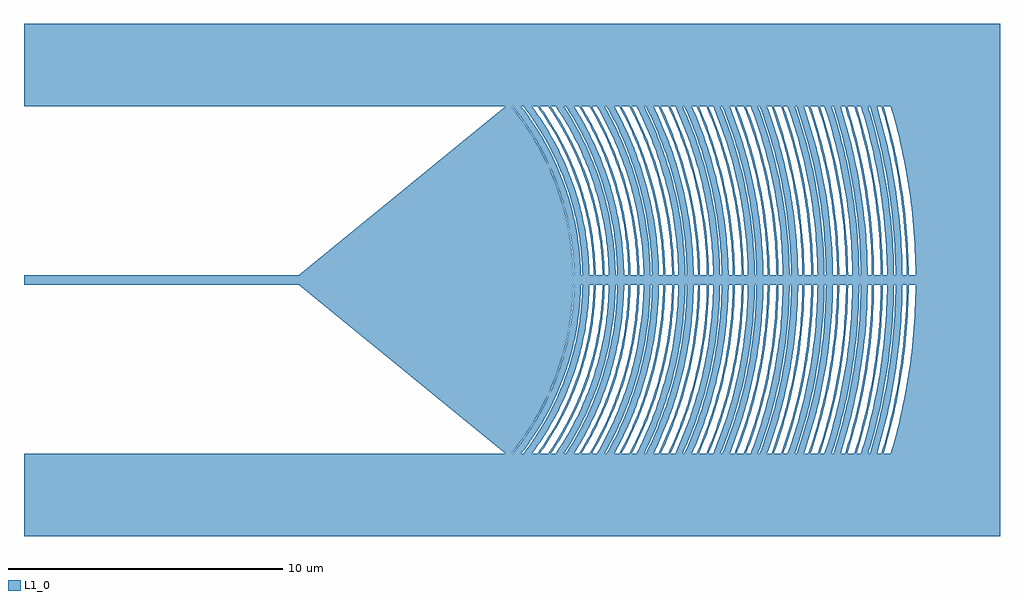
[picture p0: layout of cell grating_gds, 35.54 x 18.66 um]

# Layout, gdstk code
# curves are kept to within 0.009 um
import gdstk
lib = gdstk.Library(unit=1e-6, precision=1e-09)
def R(c, l, rs):  # rectangles x0, y0, x1, y1
    for r in rs: c.add(gdstk.rectangle(r[:2], r[2:], *l))
def P(c, l, *ps):  # polygons
    for p in ps: c.add(gdstk.Polygon(p, *l))
L1_0 = (1, 0)

boolean_99812f7a = lib.new_cell('boolean_99812f7a')
P(boolean_99812f7a, L1_0, [(-10,-0.175),(0,-0.175),(7.537,-6.328),(7.742,-6.328),(7.986,-6.018),(8.29,-5.592),(8.572,-5.15),(8.746,-4.848),(8.988,-4.384),(9.135,-4.067),(9.336,-3.584),(9.455,-3.256),(9.613,-2.756),(9.703,-2.419),(9.877,-1.564),(9.976,-0.698),(9.994,-0.349),(9.998,0.175),(9.976,0.698),(9.945,1.045),(9.903,1.392),(9.816,1.908),(9.744,2.25),(9.613,2.756),(9.455,3.256),(9.272,3.746),(9.063,4.226),(8.829,4.695),(8.572,5.15),(8.29,5.592),(7.986,6.018),(7.742,6.328),(7.537,6.328),(0,0.175),(-10,0.175)],
  [(8.125,-6.297),(8.421,-5.896),(8.643,-5.565),(8.852,-5.226),(9.095,-4.791),(9.439,-4.072),(9.59,-3.702),(9.758,-3.233),(9.876,-2.853),(10.003,-2.371),(10.106,-1.883),(10.171,-1.49),(10.256,-0.697),(10.278,-0.199),(10.278,0.199),(10.256,0.697),(10.21,1.193),(10.14,1.687),(10.047,2.176),(9.955,2.564),(9.819,3.044),(9.66,3.516),(9.516,3.888),(9.274,4.434),(9.048,4.879),(8.749,5.397),(8.421,5.896),(8.101,6.328),(7.782,6.328),(8.216,5.753),(8.433,5.43),(8.686,5.015),(9.049,4.327),(9.21,3.973),(9.391,3.522),(9.636,2.783),(9.737,2.408),(9.842,1.933),(9.924,1.454),(9.973,1.068),(10.026,0.292),(10.028,-0.194),(10.013,-0.583),(9.938,-1.357),(9.803,-2.123),(9.609,-2.877),(9.458,-3.339),(9.285,-3.793),(9.049,-4.327),(8.874,-4.674),(8.637,-5.099),(8.326,-5.593),(8.103,-5.911),(7.782,-6.328),(8.101,-6.328)],
  [(8.494,-6.323),(8.733,-5.989),(9.013,-5.559),(9.416,-4.844),(9.64,-4.382),(9.803,-4.005),(10.084,-3.233),(10.201,-2.84),(10.327,-2.342),(10.41,-1.94),(10.492,-1.433),(10.549,-0.923),(10.577,-0.513),(10.585,0.308),(10.565,0.718),(10.518,1.229),(10.391,2.041),(10.28,2.542),(10.173,2.939),(10.019,3.428),(9.841,3.91),(9.597,4.475),(9.321,5.026),(9.013,5.559),(8.733,5.989),(8.49,6.328),(8.177,6.328),(8.412,6.012),(8.693,5.598),(9.101,4.907),(9.454,4.187),(9.75,3.442),(9.876,3.061),(10.013,2.579),(10.182,1.795),(10.291,1.001),(10.338,0.201),(10.332,-0.401),(10.27,-1.2),(10.146,-1.993),(9.961,-2.773),(9.815,-3.252),(9.645,-3.724),(9.454,-4.187),(9.24,-4.64),(9.004,-5.083),(8.747,-5.513),(8.527,-5.848),(8.177,-6.328)],
  [(8.799,-6.289),(9.206,-5.678),(9.419,-5.317),(9.618,-4.948),(9.803,-4.571),(10.013,-4.091),(10.267,-3.402),(10.362,-3.102),(10.5,-2.596),(10.613,-2.084),(10.686,-1.671),(10.775,-0.943),(10.808,-0.419),(10.816,0),(10.808,0.419),(10.775,0.943),(10.686,1.671),(10.613,2.084),(10.5,2.596),(10.362,3.102),(10.267,3.402),(10.09,3.896),(9.931,4.284),(9.758,4.666),(9.52,5.133),(9.206,5.678),(8.86,6.204),(8.771,6.328),(8.685,6.328),(8.921,5.992),(9.146,5.641),(9.358,5.283),(9.556,4.916),(9.739,4.542),(9.908,4.16),(10.062,3.773),(10.201,3.38),(10.324,2.982),(10.432,2.579),(10.545,2.071),(10.617,1.661),(10.661,1.351),(10.714,0.833),(10.738,0.417),(10.746,0),(10.738,-0.417),(10.714,-0.833),(10.661,-1.351),(10.617,-1.661),(10.48,-2.377),(10.295,-3.082),(10.201,-3.38),(10.025,-3.871),(9.739,-4.542),(9.508,-5.008),(9.254,-5.463),(8.921,-5.992),(8.685,-6.328),(8.771,-6.328)],
  [(9.187,-6.301),(9.424,-5.94),(9.647,-5.57),(9.856,-5.192),(10.05,-4.806),(10.229,-4.412),(10.392,-4.012),(10.54,-3.606),(10.672,-3.195),(10.864,-2.464),(10.951,-2.041),(11.022,-1.614),(11.076,-1.186),(11.114,-0.756),(11.14,0),(11.127,0.54),(11.106,0.863),(11.064,1.293),(11.006,1.721),(10.864,2.464),(10.732,2.987),(10.608,3.401),(10.468,3.81),(10.271,4.313),(10.05,4.806),(9.856,5.192),(9.537,5.756),(9.187,6.301),(9.168,6.328),(9.083,6.328),(9.307,5.993),(9.533,5.628),(9.744,5.254),(9.94,4.872),(10.248,4.187),(10.402,3.786),(10.541,3.38),(10.693,2.865),(10.796,2.448),(10.937,1.711),(11.028,0.965),(11.057,0.536),(11.07,0),(11.044,-0.751),(11.007,-1.179),(10.953,-1.604),(10.902,-1.922),(10.796,-2.448),(10.605,-3.175),(10.365,-3.887),(10.078,-4.581),(9.844,-5.064),(9.64,-5.442),(9.365,-5.902),(9.083,-6.328),(9.168,-6.328)],
  [(9.708,-6.251),(10.163,-5.48),(10.557,-4.676),(10.731,-4.263),(10.888,-3.844),(11.029,-3.419),(11.153,-2.988),(11.351,-2.115),(11.481,-1.229),(11.538,-0.448),(11.538,0.448),(11.502,1.006),(11.455,1.452),(11.33,2.225),(11.209,2.772),(11.093,3.204),(10.85,3.949),(10.646,4.47),(10.368,5.082),(10.055,5.676),(9.768,6.157),(9.658,6.328),(9.358,6.328),(9.728,5.743),(10.144,4.972),(10.498,4.171),(10.757,3.449),(10.966,2.712),(11.125,1.962),(11.232,1.203),(11.292,0.329),(11.288,-0.438),(11.232,-1.203),(11.125,-1.962),(10.992,-2.605),(10.853,-3.135),(10.688,-3.657),(10.538,-4.069),(10.329,-4.575),(10.144,-4.972),(9.891,-5.458),(9.672,-5.837),(9.358,-6.328),(9.658,-6.328)],
  [(10.03,-6.322),(10.49,-5.525),(10.886,-4.696),(11.18,-3.947),(11.452,-3.069),(11.634,-2.285),(11.762,-1.491),(11.836,-0.689),(11.854,-0.23),(11.854,0.23),(11.8,1.148),(11.676,2.059),(11.587,2.51),(11.452,3.069),(11.18,3.947),(10.975,4.484),(10.745,5.011),(10.436,5.627),(10.151,6.126),(10.026,6.328),(9.729,6.328),(10.162,5.607),(10.519,4.905),(10.827,4.18),(11.086,3.436),(11.319,2.567),(11.467,1.793),(11.562,1.012),(11.604,0.225),(11.597,-0.45),(11.54,-1.236),(11.43,-2.015),(11.267,-2.786),(11.017,-3.651),(10.867,-4.075),(10.657,-4.597),(10.471,-5.007),(10.216,-5.508),(9.937,-5.997),(9.729,-6.328)],
  [(10.345,-6.243),(10.579,-5.837),(10.797,-5.423),(11.14,-4.678),(11.272,-4.352),(11.432,-3.911),(11.671,-3.127),(11.856,-2.328),(11.919,-1.983),(11.987,-1.519),(12.062,-0.702),(12.082,0.117),(12.046,0.936),(12.001,1.403),(11.955,1.751),(11.809,2.558),(11.701,3.014),(11.575,3.465),(11.432,3.911),(11.272,4.352),(11.094,4.786),(10.9,5.212),(10.579,5.837),(10.293,6.328),(10.211,6.328),(10.574,5.701),(10.787,5.287),(10.984,4.865),(11.288,4.109),(11.541,3.334),(11.74,2.543),(11.886,1.741),(11.967,1.047),(12.004,0.466),(12.012,0.117),(11.992,-0.698),(11.967,-1.047),(11.917,-1.51),(11.809,-2.201),(11.633,-2.996),(11.439,-3.668),(11.328,-3.999),(11.164,-4.435),(10.984,-4.865),(10.735,-5.391),(10.461,-5.905),(10.211,-6.328),(10.293,-6.328)],
  [(10.684,-6.307),(11.087,-5.568),(11.439,-4.803),(11.699,-4.13),(11.85,-3.673),(11.984,-3.211),(12.174,-2.391),(12.308,-1.56),(12.378,-0.841),(12.401,-0.361),(12.406,0.12),(12.392,0.601),(12.369,0.961),(12.336,1.321),(12.275,1.798),(12.218,2.154),(12.125,2.626),(12.014,3.095),(11.919,3.443),(11.738,4.016),(11.574,4.469),(11.392,4.914),(11.244,5.243),(10.977,5.782),(10.684,6.307),(10.671,6.328),(10.59,6.328),(10.97,5.643),(11.181,5.214),(11.328,4.886),(11.633,4.107),(11.885,3.308),(12.057,2.612),(12.149,2.142),(12.223,1.669),(12.308,0.837),(12.336,0.12),(12.322,-0.598),(12.253,-1.432),(12.128,-2.26),(11.976,-2.961),(11.885,-3.308),(11.747,-3.767),(11.633,-4.107),(11.465,-4.555),(11.28,-4.996),(11.024,-5.537),(10.859,-5.855),(10.59,-6.328),(10.671,-6.328)],
  [(11.158,-6.299),(11.559,-5.527),(11.908,-4.731),(12.201,-3.912),(12.344,-3.436),(12.468,-2.955),(12.639,-2.103),(12.753,-1.24),(12.803,-0.497),(12.807,0.373),(12.753,1.24),(12.695,1.734),(12.618,2.225),(12.522,2.712),(12.408,3.196),(12.163,4.03),(11.953,4.615),(11.715,5.189),(11.45,5.75),(11.158,6.299),(11.141,6.328),(10.853,6.328),(11.172,5.747),(11.536,4.976),(11.847,4.182),(12.103,3.369),(12.304,2.541),(12.43,1.821),(12.515,1.095),(12.561,0.244),(12.554,-0.487),(12.504,-1.216),(12.412,-1.941),(12.304,-2.541),(12.196,-3.016),(12.07,-3.486),(11.925,-3.952),(11.72,-4.525),(11.536,-4.976),(11.334,-5.42),(11.115,-5.855),(10.853,-6.328),(11.141,-6.328)],
  [(11.55,-6.228),(11.893,-5.546),(12.242,-4.726),(12.534,-3.885),(12.769,-3.026),(12.945,-2.153),(13.061,-1.27),(13.113,-0.509),(13.117,0.382),(13.061,1.27),(12.945,2.153),(12.851,2.654),(12.739,3.15),(12.496,4.007),(12.287,4.607),(12.049,5.198),(11.839,5.661),(11.496,6.328),(11.21,6.328),(11.559,5.665),(11.869,4.984),(12.179,4.167),(12.401,3.452),(12.607,2.603),(12.737,1.866),(12.824,1.122),(12.867,0.374),(12.867,-0.374),(12.824,-1.122),(12.737,-1.866),(12.607,-2.603),(12.526,-2.969),(12.367,-3.572),(12.219,-4.049),(12.053,-4.52),(11.869,-4.984),(11.667,-5.44),(11.447,-5.889),(11.21,-6.328),(11.496,-6.328)],
  [(11.811,-6.221),(11.987,-5.875),(12.206,-5.406),(12.453,-4.808),(12.712,-4.076),(12.825,-3.704),(12.959,-3.204),(13.123,-2.445),(13.189,-2.063),(13.259,-1.55),(13.327,-0.776),(13.347,-0.259),(13.349,0.129),(13.339,0.518),(13.309,1.034),(13.226,1.806),(13.099,2.573),(13.019,2.952),(12.894,3.455),(12.751,3.952),(12.63,4.322),(12.453,4.808),(12.308,5.168),(12.043,5.759),(11.754,6.328),(11.674,6.328),(12.035,5.612),(12.341,4.903),(12.605,4.177),(12.827,3.437),(13.005,2.685),(13.099,2.179),(13.157,1.797),(13.204,1.414),(13.249,0.901),(13.279,0.129),(13.264,-0.644),(13.204,-1.414),(13.099,-2.179),(12.95,-2.937),(12.758,-3.685),(12.605,-4.177),(12.434,-4.663),(12.244,-5.141),(12.089,-5.495),(11.867,-5.96),(11.674,-6.328),(11.754,-6.328)],
  [(12.158,-6.255),(12.392,-5.778),(12.555,-5.416),(12.802,-4.801),(12.979,-4.301),(13.099,-3.921),(13.304,-3.153),(13.417,-2.635),(13.488,-2.244),(13.595,-1.456),(13.657,-0.663),(13.672,0.133),(13.663,0.53),(13.632,1.06),(13.547,1.85),(13.417,2.635),(13.241,3.411),(13.099,3.921),(12.979,4.301),(12.802,4.801),(12.607,5.294),(12.392,5.778),(12.12,6.328),(12.042,6.328),(12.384,5.629),(12.69,4.9),(12.913,4.279),(13.069,3.775),(13.173,3.393),(13.348,2.622),(13.478,1.841),(13.526,1.448),(13.572,0.923),(13.602,0.132),(13.587,-0.659),(13.526,-1.448),(13.419,-2.232),(13.266,-3.009),(13.173,-3.393),(13.032,-3.901),(12.783,-4.652),(12.593,-5.145),(12.438,-5.509),(12.215,-5.987),(12.042,-6.328),(12.12,-6.328)],
  [(12.582,-6.319),(12.928,-5.577),(13.23,-4.816),(13.488,-4.038),(13.731,-3.114),(13.889,-2.31),(14.013,-1.363),(14.074,-0.41),(14.074,0.41),(14.013,1.363),(13.889,2.31),(13.731,3.114),(13.488,4.038),(13.321,4.558),(13.085,5.198),(12.873,5.702),(12.582,6.319),(12.297,6.328),(12.645,5.601),(12.949,4.856),(13.21,4.095),(13.392,3.45),(13.544,2.797),(13.684,2.004),(13.777,1.205),(13.824,0.402),(13.824,-0.402),(13.788,-1.072),(13.72,-1.739),(13.596,-2.533),(13.392,-3.45),(13.249,-3.966),(13.085,-4.477),(12.853,-5.106),(12.699,-5.478),(12.297,-6.328)],
  [(12.981,-6.207),(13.32,-5.442),(13.659,-4.526),(13.899,-3.724),(14.092,-2.91),(14.237,-2.085),(14.334,-1.254),(14.383,-0.419),(14.383,0.419),(14.321,1.393),(14.194,2.361),(14.033,3.182),(13.785,4.127),(13.614,4.658),(13.423,5.183),(13.212,5.699),(12.923,6.328),(12.644,6.328),(12.928,5.726),(13.239,4.965),(13.505,4.186),(13.726,3.394),(13.9,2.59),(14.009,1.914),(14.097,1.096),(14.133,0.411),(14.129,-0.548),(14.073,-1.369),(13.969,-2.185),(13.819,-2.993),(13.584,-3.924),(13.333,-4.707),(12.983,-5.6),(12.644,-6.328),(12.923,-6.328)],
  [(13.186,-6.305),(13.53,-5.528),(13.829,-4.732),(14.042,-4.056),(14.254,-3.233),(14.418,-2.398),(14.533,-1.556),(14.599,-0.708),(14.615,0.142),(14.582,0.991),(14.5,1.838),(14.394,2.538),(14.222,3.371),(14.118,3.783),(13.918,4.463),(13.635,5.264),(13.364,5.919),(13.175,6.328),(13.097,6.328),(13.3,5.891),(13.465,5.501),(13.763,4.709),(13.975,4.036),(14.186,3.217),(14.349,2.387),(14.463,1.548),(14.529,0.705),(14.546,0),(14.529,-0.705),(14.463,-1.548),(14.349,-2.387),(14.216,-3.079),(14.013,-3.901),(13.763,-4.709),(13.465,-5.501),(13.3,-5.891),(13.097,-6.328),(13.175,-6.328)],
  [(13.54,-6.314),(13.884,-5.516),(14.135,-4.836),(14.392,-4.006),(14.601,-3.163),(14.737,-2.451),(14.855,-1.59),(14.922,-0.724),(14.939,0.145),(14.905,1.013),(14.821,1.878),(14.687,2.737),(14.537,3.445),(14.312,4.285),(14.039,5.11),(13.83,5.65),(13.54,6.314),(13.533,6.328),(13.456,6.328),(13.765,5.624),(14.069,4.814),(14.286,4.126),(14.501,3.289),(14.644,2.582),(14.769,1.726),(14.844,0.865),(14.87,0),(14.852,-0.721),(14.8,-1.439),(14.713,-2.155),(14.562,-3.007),(14.363,-3.848),(14.115,-4.677),(13.819,-5.49),(13.654,-5.889),(13.456,-6.328),(13.533,-6.328)],
  [(14.031,-6.215),(14.369,-5.388),(14.658,-4.544),(14.861,-3.828),(15.058,-2.957),(15.205,-2.077),(15.288,-1.338),(15.34,-0.446),(15.34,0.446),(15.288,1.338),(15.162,2.371),(14.998,3.249),(14.784,4.115),(14.613,4.686),(14.421,5.249),(14.206,5.804),(13.981,6.328),(13.706,6.328),(14.03,5.574),(14.283,4.887),(14.503,4.189),(14.689,3.481),(14.841,2.766),(14.977,1.898),(15.051,1.17),(15.09,0.439),(15.09,-0.439),(15.039,-1.316),(14.937,-2.188),(14.784,-3.053),(14.582,-3.907),(14.33,-4.748),(14.03,-5.574),(13.706,-6.328),(13.981,-6.328)],
  [(14.375,-6.201),(14.659,-5.497),(14.954,-4.635),(15.161,-3.905),(15.362,-3.017),(15.512,-2.119),(15.596,-1.365),(15.644,-0.607),(15.653,0.304),(15.609,1.213),(15.512,2.119),(15.418,2.719),(15.332,3.166),(15.122,4.052),(14.954,4.635),(14.763,5.212),(14.605,5.639),(14.32,6.328),(14.046,6.328),(14.372,5.549),(14.624,4.846),(14.881,3.987),(15.057,3.262),(15.197,2.528),(15.302,1.788),(15.37,1.045),(15.403,0.299),(15.394,-0.597),(15.347,-1.343),(15.264,-2.085),(15.117,-2.969),(14.919,-3.843),(14.67,-4.704),(14.372,-5.549),(14.046,-6.328),(14.32,-6.328)],
  [(14.583,-6.291),(14.871,-5.577),(15.027,-5.142),(15.17,-4.702),(15.301,-4.259),(15.418,-3.812),(15.585,-3.061),(15.715,-2.302),(15.808,-1.538),(15.864,-0.77),(15.881,0.154),(15.846,1.077),(15.775,1.844),(15.715,2.302),(15.641,2.758),(15.489,3.513),(15.259,4.407),(14.976,5.287),(14.76,5.864),(14.567,6.328),(14.491,6.328),(14.806,5.552),(15.057,4.828),(15.274,4.093),(15.486,3.198),(15.622,2.443),(15.722,1.683),(15.786,0.919),(15.812,0.153),(15.801,-0.613),(15.752,-1.378),(15.667,-2.14),(15.545,-2.897),(15.35,-3.796),(15.103,-4.682),(14.806,-5.552),(14.491,-6.328),(14.567,-6.328)],
  [(14.942,-6.274),(15.229,-5.543),(15.384,-5.098),(15.525,-4.648),(15.732,-3.89),(15.902,-3.123),(16.035,-2.349),(16.13,-1.569),(16.169,-1.099),(16.194,-0.628),(16.205,0.157),(16.179,0.942),(16.097,1.881),(15.986,2.659),(15.839,3.431),(15.694,4.043),(15.57,4.497),(15.333,5.247),(15.118,5.837),(14.919,6.328),(14.843,6.328),(15.109,5.666),(15.413,4.778),(15.626,4.025),(15.803,3.263),(15.942,2.493),(16.044,1.718),(16.109,0.938),(16.135,0.156),(16.124,-0.626),(16.075,-1.406),(15.988,-2.184),(15.863,-2.956),(15.664,-3.873),(15.413,-4.778),(15.109,-5.666),(14.843,-6.328),(14.919,-6.328)],
  [(15.379,-6.283),(15.665,-5.53),(15.915,-4.765),(16.127,-3.988),(16.332,-3.043),(16.481,-2.089),(16.563,-1.287),(16.606,-0.483),(16.61,0.322),(16.563,1.287),(16.46,2.248),(16.301,3.202),(16.088,4.144),(15.915,4.765),(15.769,5.225),(15.611,5.682),(15.36,6.328),(15.09,6.328),(15.376,5.596),(15.629,4.845),(15.846,4.082),(16.025,3.309),(16.166,2.528),(16.27,1.742),(16.325,1.11),(16.36,0.317),(16.351,-0.635),(16.301,-1.426),(16.212,-2.214),(16.086,-2.997),(15.885,-3.928),(15.676,-4.693),(15.43,-5.447),(15.09,-6.328),(15.36,-6.328)],
  [(15.727,-6.248),(16.011,-5.478),(16.258,-4.696),(16.466,-3.903),(16.636,-3.1),(16.767,-2.29),(16.858,-1.475),(16.91,-0.656),(16.919,0.328),(16.871,1.311),(16.767,2.29),(16.636,3.1),(16.427,4.062),(16.258,4.696),(16.114,5.167),(15.902,5.788),(15.694,6.328),(15.425,6.328),(15.667,5.702),(15.925,4.936),(16.145,4.159),(16.328,3.372),(16.472,2.576),(16.578,1.775),(16.634,1.131),(16.669,0.323),(16.66,-0.647),(16.609,-1.453),(16.519,-2.256),(16.39,-3.054),(16.223,-3.845),(16.018,-4.627),(15.775,-5.397),(15.425,-6.328),(15.694,-6.328)],
  [(15.998,-6.177),(16.279,-5.394),(16.521,-4.599),(16.687,-3.955),(16.859,-3.142),(16.991,-2.321),(17.084,-1.495),(17.136,-0.665),(17.148,0.166),(17.12,0.997),(17.051,1.826),(16.943,2.65),(16.795,3.468),(16.687,3.955),(16.565,4.439),(16.279,5.394),(16.115,5.865),(15.939,6.328),(15.863,6.328),(16.159,5.529),(16.408,4.739),(16.58,4.1),(16.759,3.291),(16.899,2.475),(16.999,1.653),(17.059,0.828),(17.078,0.166),(17.072,-0.497),(17.028,-1.324),(16.944,-2.147),(16.848,-2.803),(16.692,-3.616),(16.58,-4.1),(16.453,-4.58),(16.212,-5.372),(16.049,-5.841),(15.863,-6.328),(15.939,-6.328)],
  [(16.3,-6.293),(16.586,-5.496),(16.833,-4.686),(17.002,-4.03),(17.177,-3.201),(17.312,-2.365),(17.406,-1.523),(17.46,-0.677),(17.472,0.169),(17.443,1.016),(17.406,1.523),(17.355,2.029),(17.263,2.7),(17.112,3.533),(17.002,4.03),(16.877,4.522),(16.638,5.335),(16.476,5.817),(16.286,6.328),(16.211,6.328),(16.466,5.634),(16.672,4.991),(16.894,4.177),(17.077,3.354),(17.194,2.689),(17.304,1.853),(17.373,1.012),(17.402,0.169),(17.39,-0.675),(17.337,-1.517),(17.265,-2.188),(17.167,-2.856),(17.008,-3.684),(16.81,-4.504),(16.672,-4.991),(16.52,-5.474),(16.211,-6.328),(16.286,-6.328)],
  [(16.741,-6.278),(17.026,-5.459),(17.27,-4.628),(17.437,-3.954),(17.608,-3.105),(17.737,-2.248),(17.826,-1.386),(17.872,-0.52),(17.876,0.347),(17.826,1.386),(17.715,2.42),(17.577,3.275),(17.357,4.292),(17.078,5.294),(16.722,6.328),(16.454,6.328),(16.735,5.545),(16.937,4.892),(17.114,4.232),(17.299,3.397),(17.418,2.724),(17.529,1.877),(17.6,1.025),(17.626,0.342),(17.622,-0.513),(17.576,-1.366),(17.49,-2.216),(17.362,-3.061),(17.193,-3.899),(16.984,-4.728),(16.735,-5.545),(16.454,-6.328),(16.722,-6.328)],
  [(17.092,-6.221),(17.373,-5.385),(17.614,-4.537),(17.777,-3.851),(17.942,-2.985),(18.066,-2.112),(18.147,-1.234),(18.185,-0.353),(18.181,0.529),(18.12,1.585),(18.021,2.461),(17.848,3.505),(17.657,4.366),(17.425,5.217),(17.266,5.721),(17.052,6.328),(16.786,6.328),(17.029,5.643),(17.235,4.978),(17.456,4.137),(17.603,3.457),(17.724,2.772),(17.837,1.91),(17.898,1.217),(17.936,0.348),(17.936,-0.348),(17.898,-1.217),(17.818,-2.083),(17.696,-2.944),(17.532,-3.798),(17.328,-4.643),(17.029,-5.643),(16.786,-6.328),(17.052,-6.328)],
  [(17.305,-6.299),(17.59,-5.452),(17.788,-4.766),(17.998,-3.899),(18.136,-3.198),(18.269,-2.315),(18.36,-1.427),(18.402,-0.714),(18.415,0.179),(18.384,1.071),(18.311,1.961),(18.221,2.669),(18.07,3.549),(17.877,4.42),(17.741,4.939),(17.59,5.452),(17.294,6.328),(17.219,6.328),(17.47,5.601),(17.674,4.92),(17.851,4.231),(18.035,3.361),(18.177,2.483),(18.259,1.776),(18.315,1.067),(18.345,0.178),(18.332,-0.711),(18.29,-1.422),(18.222,-2.13),(18.097,-3.01),(17.93,-3.884),(17.721,-4.748),(17.47,-5.601),(17.219,-6.328),(17.294,-6.328)],
  [(17.671,-6.238),(17.952,-5.375),(18.147,-4.674),(18.315,-3.967),(18.485,-3.075),(18.591,-2.356),(18.683,-1.452),(18.725,-0.727),(18.738,0.182),(18.708,1.09),(18.633,1.995),(18.514,2.896),(18.388,3.611),(18.191,4.498),(17.952,5.375),(17.638,6.328),(17.564,6.328),(17.832,5.528),(18.033,4.832),(18.207,4.129),(18.386,3.242),(18.498,2.527),(18.582,1.807),(18.638,1.086),(18.669,0.181),(18.655,-0.724),(18.613,-1.447),(18.543,-2.167),(18.445,-2.885),(18.284,-3.775),(18.079,-4.657),(17.832,-5.528),(17.564,-6.328),(17.638,-6.328)],
  [(18.115,-6.198),(18.394,-5.313),(18.63,-4.415),(18.787,-3.69),(18.944,-2.775),(19.056,-1.854),(19.114,-1.113),(19.145,-0.186),(19.138,0.557),(19.088,1.484),(18.994,2.407),(18.855,3.325),(18.672,4.235),(18.394,5.313),(18.07,6.328),(17.805,6.328),(18.049,5.595),(18.299,4.713),(18.468,4),(18.609,3.281),(18.722,2.557),(18.807,1.829),(18.864,1.099),(18.893,0.366),(18.893,-0.366),(18.853,-1.282),(18.768,-2.194),(18.64,-3.101),(18.506,-3.821),(18.299,-4.713),(18.049,-5.595),(17.805,-6.328),(18.07,-6.328)],
  [(18.408,-6.298),(18.638,-5.58),(18.887,-4.67),(19.091,-3.749),(19.222,-3.006),(19.324,-2.259),(19.411,-1.32),(19.452,-0.377),(19.452,0.377),(19.411,1.32),(19.324,2.259),(19.192,3.193),(18.974,4.303),(18.743,5.217),(18.397,6.328),(18.133,6.328),(18.399,5.508),(18.599,4.791),(18.73,4.248),(18.881,3.518),(19.003,2.783),(19.097,2.045),(19.161,1.303),(19.198,0.559),(19.205,-0.186),(19.173,-1.117),(19.097,-2.045),(18.975,-2.968),(18.809,-3.884),(18.599,-4.791),(18.399,-5.508),(18.133,-6.328),(18.397,-6.328)],
  [(18.683,-6.191),(18.909,-5.462),(19.152,-4.539),(19.313,-3.793),(19.446,-3.041),(19.549,-2.285),(19.637,-1.335),(19.674,-0.572),(19.681,0.191),(19.649,1.144),(19.59,1.905),(19.501,2.664),(19.349,3.605),(19.152,4.539),(18.909,5.462),(18.637,6.328),(18.563,6.328),(18.788,5.625),(18.992,4.892),(19.168,4.152),(19.314,3.406),(19.457,2.466),(19.538,1.709),(19.589,0.95),(19.611,0.19),(19.604,-0.57),(19.567,-1.33),(19.501,-2.088),(19.405,-2.842),(19.245,-3.779),(19.084,-4.523),(18.842,-5.442),(18.563,-6.328),(18.637,-6.328)],
  [(18.99,-6.293),(19.22,-5.552),(19.467,-4.614),(19.631,-3.855),(19.766,-3.091),(19.871,-2.323),(19.946,-1.55),(19.991,-0.776),(20.005,0.194),(19.982,0.969),(19.93,1.744),(19.822,2.707),(19.702,3.474),(19.51,4.425),(19.273,5.365),(18.979,6.328),(18.905,6.328),(19.153,5.532),(19.353,4.785),(19.524,4.031),(19.666,3.271),(19.778,2.506),(19.86,1.737),(19.913,0.966),(19.935,0.193),(19.928,-0.58),(19.89,-1.352),(19.823,-2.122),(19.753,-2.698),(19.599,-3.652),(19.399,-4.598),(19.153,-5.532),(18.905,-6.328),(18.979,-6.328)],
  [(19.438,-6.232),(19.665,-5.474),(19.907,-4.515),(20.067,-3.739),(20.197,-2.958),(20.297,-2.173),(20.366,-1.384),(20.409,-0.396),(20.409,0.396),(20.366,1.384),(20.274,2.37),(20.136,3.35),(19.95,4.321),(19.717,5.283),(19.407,6.328),(19.144,6.328),(19.371,5.595),(19.573,4.84),(19.746,4.077),(19.889,3.308),(20.003,2.535),(20.068,1.952),(20.129,1.172),(20.159,0.391),(20.159,-0.391),(20.116,-1.368),(20.048,-2.147),(19.921,-3.115),(19.785,-3.886),(19.619,-4.65),(19.371,-5.595),(19.144,-6.328),(19.407,-6.328)],
  [(19.733,-6.327),(20.016,-5.363),(20.209,-4.583),(20.371,-3.796),(20.503,-3.003),(20.625,-2.006),(20.687,-1.205),(20.718,-0.402),(20.718,0.402),(20.674,1.405),(20.582,2.406),(20.473,3.202),(20.294,4.19),(20.067,5.169),(19.733,6.327),(19.469,6.328),(19.668,5.681),(19.874,4.914),(20.049,4.14),(20.195,3.359),(20.31,2.574),(20.376,1.982),(20.438,1.19),(20.468,0.397),(20.468,-0.397),(20.438,-1.19),(20.356,-2.179),(20.256,-2.967),(20.126,-3.75),(19.92,-4.721),(19.722,-5.49),(19.469,-6.328)],
  [(20.009,-6.203),(20.235,-5.422),(20.43,-4.633),(20.594,-3.838),(20.728,-3.036),(20.83,-2.23),(20.9,-1.421),(20.94,-0.609),(20.948,0.203),(20.924,1.015),(20.869,1.826),(20.783,2.634),(20.665,3.437),(20.474,4.435),(20.235,5.422),(19.97,6.328),(19.897,6.328),(20.114,5.599),(20.316,4.815),(20.448,4.222),(20.596,3.426),(20.713,2.625),(20.799,1.82),(20.854,1.012),(20.878,0.202),(20.875,-0.405),(20.844,-1.214),(20.781,-2.021),(20.687,-2.826),(20.526,-3.825),(20.362,-4.618),(20.114,-5.599),(19.897,-6.328),(19.97,-6.328)],
  [(20.319,-6.298),(20.548,-5.506),(20.746,-4.705),(20.913,-3.897),(21.048,-3.083),(21.129,-2.47),(21.209,-1.649),(21.257,-0.825),(21.273,0),(21.257,0.825),(21.209,1.649),(21.129,2.47),(20.984,3.491),(20.79,4.503),(20.548,5.506),(20.309,6.328),(20.236,6.328),(20.48,5.488),(20.678,4.689),(20.844,3.884),(20.948,3.276),(21.059,2.461),(21.139,1.643),(21.178,1.028),(21.202,0.206),(21.194,-0.617),(21.167,-1.233),(21.103,-2.053),(21.007,-2.869),(20.881,-3.682),(20.678,-4.689),(20.48,-5.488),(20.236,-6.328),(20.309,-6.328)],
  [(20.768,-6.218),(20.994,-5.408),(21.188,-4.59),(21.35,-3.765),(21.48,-2.934),(21.577,-2.099),(21.642,-1.26),(21.675,-0.42),(21.675,0.42),(21.629,1.47),(21.556,2.308),(21.419,3.35),(21.273,4.178),(20.994,5.408),(20.735,6.328),(20.474,6.328),(20.699,5.546),(20.899,4.74),(21.067,3.926),(21.172,3.311),(21.259,2.694),(21.348,1.868),(21.393,1.246),(21.425,0.416),(21.425,-0.416),(21.38,-1.453),(21.308,-2.281),(21.203,-3.106),(21.067,-3.926),(20.899,-4.74),(20.699,-5.546),(20.474,-6.328),(20.735,-6.328)],
  [(21.065,-6.306),(21.294,-5.485),(21.49,-4.655),(21.655,-3.818),(21.786,-2.976),(21.885,-2.129),(21.951,-1.278),(21.984,-0.426),(21.984,0.426),(21.938,1.491),(21.864,2.341),(21.725,3.398),(21.534,4.447),(21.294,5.485),(21.058,6.328),(20.797,6.328),(20.943,5.83),(21.153,5.013),(21.331,4.189),(21.478,3.359),(21.592,2.524),(21.656,1.895),(21.702,1.264),(21.735,0.422),(21.735,-0.422),(21.702,-1.264),(21.637,-2.105),(21.539,-2.942),(21.408,-3.775),(21.246,-4.602),(21.052,-5.423),(20.797,-6.328),(21.058,-6.328)],
  [(21.343,-6.165),(21.566,-5.333),(21.712,-4.703),(21.878,-3.858),(22.011,-3.006),(22.111,-2.151),(22.178,-1.292),(22.206,-0.646),(22.214,0.215),(22.199,0.861),(22.149,1.721),(22.065,2.579),(21.949,3.433),(21.799,4.281),(21.566,5.333),(21.295,6.328),(21.222,6.328),(21.391,5.732),(21.597,4.898),(21.771,4.057),(21.912,3.21),(22.02,2.357),(22.079,1.716),(22.129,0.859),(22.144,0.215),(22.136,-0.644),(22.108,-1.288),(22.061,-1.93),(21.97,-2.784),(21.845,-3.634),(21.688,-4.478),(21.498,-5.316),(21.222,-6.328),(21.295,-6.328)],
  [(21.587,6.235),(21.759,5.605),(21.96,4.757),(22.128,3.902),(22.263,3.041),(22.364,2.175),(22.417,1.524),(22.46,0.654),(22.469,0),(22.46,-0.654),(22.417,-1.524),(22.364,-2.175),(22.263,-3.041),(22.128,-3.902),(21.96,-4.757),(21.759,-5.605),(21.559,-6.328),(22.539,-6.328),(22.539,6.328),(21.559,6.328)])

boolean_e5be75da = lib.new_cell('boolean_e5be75da')
P(boolean_e5be75da, L1_0, [(25.539,-9.328),(25.539,9.328),(-10,9.328),(-10,6.328),(22.539,6.328),(22.539,-6.328),(-10,-6.328),(-10,-9.328)])

grating_add_tether_638fc = lib.new_cell('grating_add_tether_638fc81a')
grating_add_tether_638fc.add(gdstk.Reference(boolean_99812f7a, (0,0)))
grating_add_tether_638fc.add(gdstk.Reference(boolean_e5be75da, (0,0)))

compass_size22p539__0p35 = lib.new_cell('compass_size22p539__0p35')
R(compass_size22p539__0p35, L1_0, [(-11.27,-0.175,11.27,0.175)])

rectangle_size22p539__0p = lib.new_cell('rectangle_size22p539__0p35')
rectangle_size22p539__0p.add(gdstk.Reference(compass_size22p539__0p35, (11.27,0.175)))

grating_gds = lib.new_cell('grating_gds')
grating_gds.add(gdstk.Reference(grating_add_tether_638fc, (0,0)))
grating_gds.add(gdstk.Reference(rectangle_size22p539__0p, (2,-0.175)))

lib.write_gds('grating_gds.gds')
